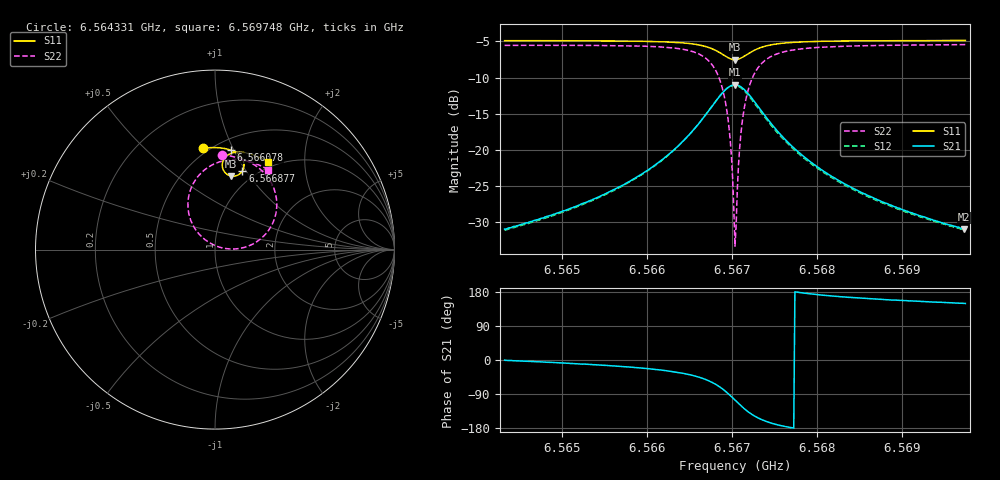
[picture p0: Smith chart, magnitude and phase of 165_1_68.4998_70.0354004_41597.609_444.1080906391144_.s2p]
#  HZ  S  RI  R  50.00
! Rohde & Schwarz Vector Network Analyzer
! Rohde-Schwarz,ZNB20-2Port,1311601062101988,3.16
! Created: UTC 3/20/2024, 4:55:57 PM
! freq[Hz]  re:S11  im:S11  re:S21  im:S21  re:S12  im:S12  re:S22  im:S22
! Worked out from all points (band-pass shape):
!   401 points, 6.564331 GHz to 6.569748 GHz, reference 50 ohm
!   highest |S21| = -11.01 dB at 6.56704 GHz (marker M1); lowest = -31.0 dB at 6.569735 GHz (marker M2)
!   |S21| within 3 dB of the highest: 6.566768 GHz to 6.56731 GHz (542.6 kHz wide, 0.00826 % of centre)
!   lowest |S11| = -7.5 dB at 6.56704 GHz (marker M3), VSWR 2.45, Z = 41.2 + j41 ohm
!   |S11| at or under -10 dB: nowhere
!   |S22| runs from -33.4 to -5.4 dB; largest |S21 - S12| = 0.013
!   S11 on the Smith chart (normalised r, x): 6.564331 GHz: 0.47, +0.78; 6.566078 GHz: 0.60, +0.97; 6.566877 GHz: 0.86, +0.96; 6.569748 GHz: 0.91, +1.32
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6.5643308e9  -0.0645 0.5656  0.0281 -0.000193  0.0276 -0.000883  0.0366 0.5269
6.5652383e9  0.00995 0.5681  0.0415 -0.00767  0.0406 -0.00826  0.1229 0.5135
6.566078e9  0.0884 0.5545  0.0698 -0.0314  0.0688 -0.0323  0.2325 0.4632
6.5661457e9  0.0957 0.5518  0.0737 -0.0359  0.0726 -0.0367  0.2444 0.4545
6.5664437e9  0.1301 0.5324  0.0948 -0.0685  0.0933 -0.0697  0.3034 0.3899
6.5666604e9  0.1552 0.5012  0.1087 -0.1231  0.1062 -0.1255  0.3424 0.2841
6.5667823e9  0.1618 0.4698  0.1009 -0.178  0.0964 -0.1814  0.3336 0.1791
6.5668771e9  0.1525 0.4384  0.0675 -0.2321  0.0599 -0.2351  0.2738 0.0778
6.5669584e9  0.1267 0.415  0.00647 -0.2697  -0.00469 -0.2697  0.1611 0.0117
6.5669855e9  0.1146 0.4106  -0.0202 -0.2755  -0.0322 -0.2735  0.1126 0.00364
6.5670261e9  0.0944 0.4094  -0.063 -0.274  -0.0751 -0.269  0.0367 0.0103
6.5670396e9  0.0876 0.4105  -0.0772 -0.2707  -0.0889 -0.2646  0.012 0.0178
6.5670667e9  0.0748 0.415  -0.104 -0.26  -0.1147 -0.2519  -0.0339 0.0402
6.5670938e9  0.0634 0.422  -0.1278 -0.2446  -0.1369 -0.2348  -0.0735 0.0706
6.5671345e9  0.0506 0.4363  -0.1556 -0.2153  -0.1619 -0.2042  -0.1173 0.1259
6.5671886e9  0.0416 0.458  -0.1766 -0.1721  -0.1794 -0.1607  -0.1465 0.2041
6.5672564e9  0.0417 0.4833  -0.1825 -0.1227  -0.182 -0.1128  -0.1475 0.2909
6.5675001e9  0.0789 0.5313  -0.1402 -0.0276  -0.1371 -0.0235  -0.0504 0.45
6.5679471e9  0.1418 0.5431  -0.0803 0.00842  -0.0783 0.00972  0.0859 0.5003
6.5688546e9  0.2264 0.5225  -0.0389 0.015  -0.0379 0.0153  0.2161 0.4824
6.5697349e9  0.2916 0.491  -0.0242 0.0142  -0.0238 0.0144  0.2936 0.4466
6.5697485e9  0.2926 0.4905  -0.0242 0.0144  -0.0236 0.0145  0.2946 0.4459
